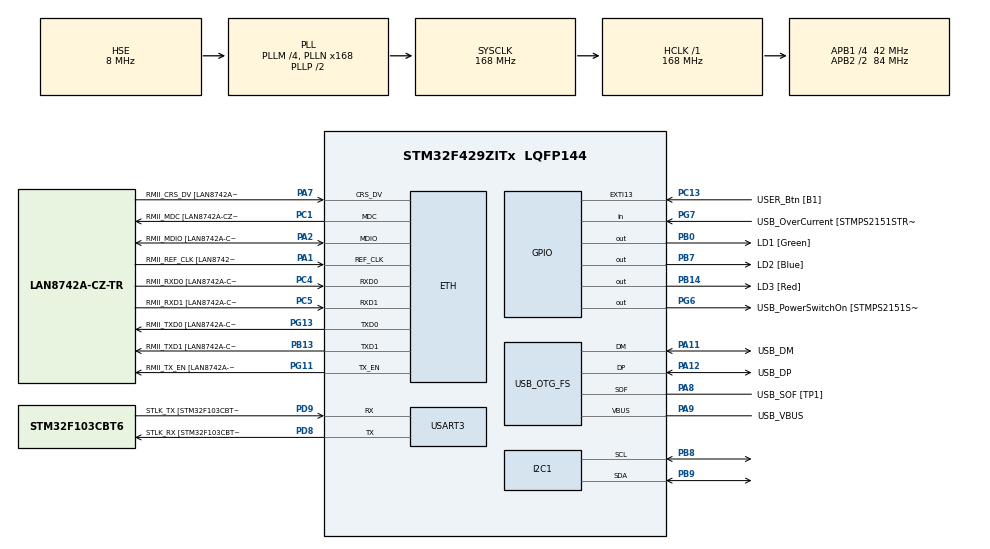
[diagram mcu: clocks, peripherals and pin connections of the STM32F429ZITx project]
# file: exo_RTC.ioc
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Mcu.Family=STM32F4
RCC.CortexFreq_Value=168000000
PG6.Signal=GPIO_Output
PB14.GPIO_Label=LD3 [Red]
PG6.GPIO_Label=USB_PowerSwitchOn [STMPS2151STR_EN]
PA14.GPIO_Label=TCK
RCC.SYSCLKSourceVirtual=RCC_SYSCLKSOURCE_PLLCLK
PA11.Mode=Device_Only
PB0.GPIO_Label=LD1 [Green]
PC14/OSC32_IN.Mode=LSE-External-Oscillator
PC5.Mode=RMII
PC13.GPIO_Label=USER_Btn [B1]
PB13.GPIO_Label=RMII_TXD1 [LAN8742A-CZ-TR_TXD1]
PB13.Signal=ETH_TXD1
PG13.Signal=ETH_TXD0
PD9.Mode=Asynchronous
PG11.Signal=ETH_TX_EN
RCC.SYSCLKSource=RCC_SYSCLKSOURCE_PLLCLK
ProjectManager.StackSize=0x400
VP_FREERTOS_VS_CMSIS_V2.Mode=CMSIS_V2
PA12.Signal=USB_OTG_FS_DP
ETH.PHY_Value=0
PH0/OSC_IN.Mode=HSE-External-Clock-Source
RCC.HCLKFreq_Value=168000000
RCC.APB2TimFreq_Value=168000000
PH1/OSC_OUT.Signal=RCC_OSC_OUT
PD8.Signal=USART3_TX
RCC.AHBFreq_Value=168000000
NVIC.EXTI15_10_IRQn=true\:0\:0\:false\:false\:true\:false\:true\:true
RCC.HSE_VALUE=8000000
RCC.PLLMUL=RCC_PLL_MUL9
PC4.GPIO_Label=RMII_RXD0 [LAN8742A-CZ-TR_RXD0]
PA14.Mode=Serial_Wire
VP_SYS_VS_tim1.Mode=TIM1
PA10.GPIO_Label=USB_ID
PB7.Signal=GPIO_Output
PA8.Signal=USB_OTG_FS_SOF
PG13.Mode=RMII
ETH.PHY_Name=LAN8742A_PHY_ADDRESS
PH1/OSC_OUT.Mode=HSE-External-Clock-Source
PB7.GPIO_Label=LD2 [Blue]
PB9.Signal=I2C1_SDA
Mcu.Package=LQFP144
NVIC.TimeBase=TIM1_UP_TIM10_IRQn
PC14/OSC32_IN.Signal=RCC_OSC32_IN
PA2.GPIO_Label=RMII_MDIO [LAN8742A-CZ-TR_MDIO]
NVIC.TimeBaseIP=TIM1
PA10.Signal=USB_OTG_FS_ID
USB_OTG_FS.VirtualMode=Device_Only
RCC.APB2CLKDivider=RCC_HCLK_DIV2
RCC.APB1TimFreq_Value=84000000
PG11.GPIO_Label=RMII_TX_EN [LAN8742A-CZ-TR_TXEN]
PC5.Signal=ETH_RXD1
PB13.Mode=RMII
PC4.Mode=RMII
FREERTOS.Tasks01=defaultTask,24,128,display_datetime,Default,NULL,Dynamic,NULL,NULL
PA7.Mode=RMII
PG7.Signal=GPIO_Input
PD9.GPIO_Label=STLK_TX [STM32F103CBT6_PA2]
PC13.Signal=GPXTI13
PA9.GPIO_Label=USB_VBUS
PC4.Signal=ETH_RXD0
PA11.GPIO_Label=USB_DM
PD9.Signal=USART3_RX
RCC.APB1CLKDivider=RCC_HCLK_DIV4
PG13.GPIO_Label=RMII_TXD0 [LAN8742A-CZ-TR_TXD0]
ETH.PhyAddress=0
PA12.GPIO_Label=USB_DP
PD8.GPIO_Label=STLK_RX [STM32F103CBT6_PA3]
PA13.Signal=SYS_JTMS-SWDIO
PA9.Mode=Activate_VBUS
PA8.GPIO_Label=USB_SOF [TP1]
ProjectManager.TargetToolchain=TrueSTUDIO
PB9.Mode=I2C
PA9.Signal=USB_OTG_FS_VBUS
RCC.USBFreq_Value=48000000
PD8.Mode=Asynchronous
PA1.Signal=ETH_REF_CLK
PB14.Signal=GPIO_Output
board=NUCLEO-F429ZI
RCC.VCOOutputFreq_Value=336000000
PH0/OSC_IN.Signal=RCC_OSC_IN
RCC.APB2Freq_Value=84000000
PA1.Mode=RMII
RCC.PRESCALERUSB=RCC_USBCLKSOURCE_PLL_DIV1_5
PG7.GPIO_Label=USB_OverCurrent [STMPS2151STR_FAULT]
PA1.GPIO_Label=RMII_REF_CLK [LAN8742A-CZ-TR_REFCLK0]
PC1.GPIO_Label=RMII_MDC [LAN8742A-CZ-TR_MDC]
PA13.Mode=Serial_Wire
Mcu.Name=STM32F429ZITx
PA2.Signal=ETH_MDIO
PA13.GPIO_Label=TMS
RCC.APB2TimCLKDivider=2
RCC.48MHZClocksFreq_Value=48000000
RCC.SYSCLKFreq_VALUE=168000000
ETH.MediaInterface=ETH_MEDIA_INTERFACE_RMII
PA7.GPIO_Label=RMII_CRS_DV [LAN8742A-CZ-TR_CRS_DV]
PA12.Mode=Device_Only
PC5.GPIO_Label=RMII_RXD1 [LAN8742A-CZ-TR_RXD1]
USART3.VirtualMode=VM_ASYNC
PC15/OSC32_OUT.Mode=LSE-External-Oscillator
PG11.Mode=RMII
PA11.Signal=USB_OTG_FS_DM
PA14.Signal=SYS_JTCK-SWCLK
ProjectManager.HeapSize=0x200
NVIC.TIM1_UP_TIM10_IRQn=true\:0\:0\:false\:false\:true\:false\:false\:true
RCC.HSI_VALUE=16000000
PH0/OSC_IN.GPIO_Label=MCO [STM32F103CBT6_PA8]
RCC.PLLQ=7
NVIC.PriorityGroup=NVIC_PRIORITYGROUP_4
RCC.PLLM=4
PB8.Mode=I2C
RCC.PLLN=168
PA2.Mode=RMII
PB8.Signal=I2C1_SCL
PC15/OSC32_OUT.Signal=RCC_OSC32_OUT
PA8.Mode=Activate_SOF_FS
RCC.APB1Freq_Value=42000000
PB0.Signal=GPIO_Output
PC1.Signal=ETH_MDC
PC1.Mode=RMII
PA7.Signal=ETH_CRS_DV

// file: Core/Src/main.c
/* USER CODE BEGIN Header */
/**
 ******************************************************************************
 * @file           : main.c
 * @brief          : Main program body
 ******************************************************************************
 * @attention
 *
 * <h2><center>&copy; Copyright (c) 2020 STMicroelectronics.
 * All rights reserved.</center></h2>
 *
 * This software component is licensed by ST under Ultimate Liberty license
 * SLA0044, the "License"; You may not use this file except in compliance with
 * the License. You may obtain a copy of the License at:
 *                             www.st.com/SLA0044
 *
 ******************************************************************************
 */
/* USER CODE END Header */
#include "main.h"
#include "cmsis_os.h"

/* USER CODE BEGIN Includes */
#include "stdlib.h"
/* USER CODE END Includes */

/* USER CODE BEGIN PTD */
typedef struct{
	char year[2];
	char month[2];
	char day[2];
	char hour[2];
	char minute[2];
	char second[2];
}datetime;
/* USER CODE END PTD */

/* USER CODE BEGIN PD */
#define DEVADD 0b1101000
#define SIZE_OF_MESSAGE 19
/* USER CODE END PD */

ETH_HandleTypeDef heth;

I2C_HandleTypeDef hi2c1;

UART_HandleTypeDef huart3;

PCD_HandleTypeDef hpcd_USB_OTG_FS;

/* Definitions for defaultTask */
osThreadId_t defaultTaskHandle;
const osThreadAttr_t defaultTask_attributes = {
		.name = "defaultTask",
		.priority = (osPriority_t) osPriorityNormal,
		.stack_size = 128 * 4
};
/* USER CODE BEGIN PV */
int display_flag;

datetime now;

/* USER CODE END PV */

void SystemClock_Config(void);
static void MX_GPIO_Init(void);
static void MX_ETH_Init(void);
static void MX_USART3_UART_Init(void);
static void MX_USB_OTG_FS_PCD_Init(void);
static void MX_I2C1_Init(void);
void display_datetime(void *argument);

int main(void)
{

	/* MCU Configuration--------------------------------------------------------*/

	/* Reset of all peripherals, Initializes the Flash interface and the Systick. */
	HAL_Init();

	/* Configure the system clock */
	SystemClock_Config();

	/* Initialize all configured peripherals */
	MX_GPIO_Init();
	MX_ETH_Init();
	MX_USART3_UART_Init();
	MX_USB_OTG_FS_PCD_Init();
	MX_I2C1_Init();
	/* USER CODE BEGIN 2 */
	display_flag = 0;
	/* USER CODE END 2 */

	/* Init scheduler */
	osKernelInitialize();

	/* Create the thread(s) */
	/* creation of defaultTask */
	defaultTaskHandle = osThreadNew(display_datetime, NULL, &defaultTask_attributes);

	/* Start scheduler */
	osKernelStart();

	/* We should never get here as control is now taken by the scheduler */
	/* Infinite loop */
	while (1)
	{

	}
}

void SystemClock_Config(void)
{
	RCC_OscInitTypeDef RCC_OscInitStruct = {0};
	RCC_ClkInitTypeDef RCC_ClkInitStruct = {0};

	/** Configure the main internal regulator output voltage
	 */
	__HAL_RCC_PWR_CLK_ENABLE();
	__HAL_PWR_VOLTAGESCALING_CONFIG(PWR_REGULATOR_VOLTAGE_SCALE1);
	/** Initializes the RCC Oscillators according to the specified parameters
	 * in the RCC_OscInitTypeDef structure.
	 */
	RCC_OscInitStruct.OscillatorType = RCC_OSCILLATORTYPE_HSE;
	RCC_OscInitStruct.HSEState = RCC_HSE_BYPASS;
	RCC_OscInitStruct.PLL.PLLState = RCC_PLL_ON;
	RCC_OscInitStruct.PLL.PLLSource = RCC_PLLSOURCE_HSE;
	RCC_OscInitStruct.PLL.PLLM = 4;
	RCC_OscInitStruct.PLL.PLLN = 168;
	RCC_OscInitStruct.PLL.PLLP = RCC_PLLP_DIV2;
	RCC_OscInitStruct.PLL.PLLQ = 7;
	if (HAL_RCC_OscConfig(&RCC_OscInitStruct) != HAL_OK)
	{
		Error_Handler();
	}
	/** Initializes the CPU, AHB and APB buses clocks
	 */
	RCC_ClkInitStruct.ClockType = RCC_CLOCKTYPE_HCLK|RCC_CLOCKTYPE_SYSCLK
			|RCC_CLOCKTYPE_PCLK1|RCC_CLOCKTYPE_PCLK2;
	RCC_ClkInitStruct.SYSCLKSource = RCC_SYSCLKSOURCE_PLLCLK;
	RCC_ClkInitStruct.AHBCLKDivider = RCC_SYSCLK_DIV1;
	RCC_ClkInitStruct.APB1CLKDivider = RCC_HCLK_DIV4;
	RCC_ClkInitStruct.APB2CLKDivider = RCC_HCLK_DIV2;

	if (HAL_RCC_ClockConfig(&RCC_ClkInitStruct, FLASH_LATENCY_5) != HAL_OK)
	{
		Error_Handler();
	}
}

static void MX_ETH_Init(void)
{

	heth.Instance = ETH;
	heth.Init.AutoNegotiation = ETH_AUTONEGOTIATION_ENABLE;
	heth.Init.PhyAddress = LAN8742A_PHY_ADDRESS;
	heth.Init.MACAddr[0] =   0x00;
	heth.Init.MACAddr[1] =   0x80;
	heth.Init.MACAddr[2] =   0xE1;
	heth.Init.MACAddr[3] =   0x00;
	heth.Init.MACAddr[4] =   0x00;
	heth.Init.MACAddr[5] =   0x00;
	heth.Init.RxMode = ETH_RXPOLLING_MODE;
	heth.Init.ChecksumMode = ETH_CHECKSUM_BY_HARDWARE;
	heth.Init.MediaInterface = ETH_MEDIA_INTERFACE_RMII;

	if (HAL_ETH_Init(&heth) != HAL_OK)
	{
		Error_Handler();
	}

}

static void MX_I2C1_Init(void)
{

	hi2c1.Instance = I2C1;
	hi2c1.Init.ClockSpeed = 100000;
	hi2c1.Init.DutyCycle = I2C_DUTYCYCLE_2;
	hi2c1.Init.OwnAddress1 = 0;
	hi2c1.Init.AddressingMode = I2C_ADDRESSINGMODE_7BIT;
	hi2c1.Init.DualAddressMode = I2C_DUALADDRESS_DISABLE;
	hi2c1.Init.OwnAddress2 = 0;
	hi2c1.Init.GeneralCallMode = I2C_GENERALCALL_DISABLE;
	hi2c1.Init.NoStretchMode = I2C_NOSTRETCH_DISABLE;
	if (HAL_I2C_Init(&hi2c1) != HAL_OK)
	{
		Error_Handler();
	}
	/** Configure Analogue filter
	 */
	if (HAL_I2CEx_ConfigAnalogFilter(&hi2c1, I2C_ANALOGFILTER_ENABLE) != HAL_OK)
	{
		Error_Handler();
	}
	/** Configure Digital filter
	 */
	if (HAL_I2CEx_ConfigDigitalFilter(&hi2c1, 0) != HAL_OK)
	{
		Error_Handler();
	}

}

static void MX_USART3_UART_Init(void)
{

	huart3.Instance = USART3;
	huart3.Init.BaudRate = 115200;
	huart3.Init.WordLength = UART_WORDLENGTH_8B;
	huart3.Init.StopBits = UART_STOPBITS_1;
	huart3.Init.Parity = UART_PARITY_NONE;
	huart3.Init.Mode = UART_MODE_TX_RX;
	huart3.Init.HwFlowCtl = UART_HWCONTROL_NONE;
	huart3.Init.OverSampling = UART_OVERSAMPLING_16;
	if (HAL_UART_Init(&huart3) != HAL_OK)
	{
		Error_Handler();
	}

}

static void MX_USB_OTG_FS_PCD_Init(void)
{

	hpcd_USB_OTG_FS.Instance = USB_OTG_FS;
	hpcd_USB_OTG_FS.Init.dev_endpoints = 4;
	hpcd_USB_OTG_FS.Init.speed = PCD_SPEED_FULL;
	hpcd_USB_OTG_FS.Init.dma_enable = DISABLE;
	hpcd_USB_OTG_FS.Init.phy_itface = PCD_PHY_EMBEDDED;
	hpcd_USB_OTG_FS.Init.Sof_enable = ENABLE;
	hpcd_USB_OTG_FS.Init.low_power_enable = DISABLE;
	hpcd_USB_OTG_FS.Init.lpm_enable = DISABLE;
	hpcd_USB_OTG_FS.Init.vbus_sensing_enable = ENABLE;
	hpcd_USB_OTG_FS.Init.use_dedicated_ep1 = DISABLE;
	if (HAL_PCD_Init(&hpcd_USB_OTG_FS) != HAL_OK)
	{
		Error_Handler();
	}

}

static void MX_GPIO_Init(void)
{
	GPIO_InitTypeDef GPIO_InitStruct = {0};

	/* GPIO Ports Clock Enable */
	__HAL_RCC_GPIOC_CLK_ENABLE();
	__HAL_RCC_GPIOH_CLK_ENABLE();
	__HAL_RCC_GPIOA_CLK_ENABLE();
	__HAL_RCC_GPIOB_CLK_ENABLE();
	__HAL_RCC_GPIOD_CLK_ENABLE();
	__HAL_RCC_GPIOG_CLK_ENABLE();

	/*Configure GPIO pin Output Level */
	HAL_GPIO_WritePin(GPIOB, LD1_Pin|LD3_Pin|LD2_Pin, GPIO_PIN_RESET);

	/*Configure GPIO pin Output Level */
	HAL_GPIO_WritePin(USB_PowerSwitchOn_GPIO_Port, USB_PowerSwitchOn_Pin, GPIO_PIN_RESET);

	/*Configure GPIO pin : USER_Btn_Pin */
	GPIO_InitStruct.Pin = USER_Btn_Pin;
	GPIO_InitStruct.Mode = GPIO_MODE_IT_RISING;
	GPIO_InitStruct.Pull = GPIO_NOPULL;
	HAL_GPIO_Init(USER_Btn_GPIO_Port, &GPIO_InitStruct);

	/*Configure GPIO pins : LD1_Pin LD3_Pin LD2_Pin */
	GPIO_InitStruct.Pin = LD1_Pin|LD3_Pin|LD2_Pin;
	GPIO_InitStruct.Mode = GPIO_MODE_OUTPUT_PP;
	GPIO_InitStruct.Pull = GPIO_NOPULL;
	GPIO_InitStruct.Speed = GPIO_SPEED_FREQ_LOW;
	HAL_GPIO_Init(GPIOB, &GPIO_InitStruct);

	/*Configure GPIO pin : USB_PowerSwitchOn_Pin */
	GPIO_InitStruct.Pin = USB_PowerSwitchOn_Pin;
	GPIO_InitStruct.Mode = GPIO_MODE_OUTPUT_PP;
	GPIO_InitStruct.Pull = GPIO_NOPULL;
	GPIO_InitStruct.Speed = GPIO_SPEED_FREQ_LOW;
	HAL_GPIO_Init(USB_PowerSwitchOn_GPIO_Port, &GPIO_InitStruct);

	/*Configure GPIO pin : USB_OverCurrent_Pin */
	GPIO_InitStruct.Pin = USB_OverCurrent_Pin;
	GPIO_InitStruct.Mode = GPIO_MODE_INPUT;
	GPIO_InitStruct.Pull = GPIO_NOPULL;
	HAL_GPIO_Init(USB_OverCurrent_GPIO_Port, &GPIO_InitStruct);

	/* EXTI interrupt init*/
	HAL_NVIC_SetPriority(EXTI15_10_IRQn, 0, 0);
	HAL_NVIC_EnableIRQ(EXTI15_10_IRQn);

}

/* USER CODE BEGIN 4 */
void HAL_GPIO_EXTI_Callback(uint16_t GPIO_Pin){ // INTERRUPTION !
	if(GPIO_Pin == USER_Btn_Pin){
		display_flag = !display_flag;
	}
}

void int_to_ascii(int ddata, int udata, char *pdata){
	pdata[0] = ddata + 48;
	pdata[1] = udata + 48;
}

void get_year(uint8_t *pdata, datetime *pstruct){
	int dyear = (pdata[6] & 0xF0) >> 4;
	int uyear = pdata[6] & 0x0F;
	char ascii_year[2];
	int_to_ascii(dyear, uyear, ascii_year);
	pstruct->year[0] = ascii_year[0];
	pstruct->year[1] = ascii_year[1];

}

void get_month(uint8_t *pdata, datetime *pstruct){
	int dmonth = (pdata[5] & 0x10) >> 4;
	int umonth = pdata[5] & 0x0F;
	char ascii_month[2];
	int_to_ascii(dmonth, umonth, ascii_month);
	pstruct->month[0] = ascii_month[0];
	pstruct->month[1] = ascii_month[1];
}

void get_day(uint8_t *pdata, datetime *pstruct){
	int dday = (pdata[4] & 0x30) >> 4;
	int uday = pdata[4] & 0x0F;
	char ascii_day[2];
	int_to_ascii(dday, uday, ascii_day);
	pstruct->day[0] = ascii_day[0];
	pstruct->day[1] = ascii_day[1];
}

void get_hours(uint8_t *pdata, datetime *pstruct){
	int dhours = (pdata[2] & 0x30) >> 4;
	int uhours = pdata[2] & 0x0F;
	char ascii_hours[2];
	int_to_ascii(dhours, uhours, ascii_hours);
	pstruct->hour[0] = ascii_hours[0];
	pstruct->hour[1] = ascii_hours[1];
}

void get_minutes(uint8_t *pdata, datetime *pstruct){
	int dminutes = (pdata[1] & 0x70) >> 4;
	int uminutes = pdata[1] & 0x0F;
	char ascii_minutes[2];
	int_to_ascii(dminutes, uminutes, ascii_minutes);
	pstruct->minute[0] = ascii_minutes[0];
	pstruct->minute[1] = ascii_minutes[1];
}

void get_seconds(uint8_t *pdata, datetime *pstruct){
	int dseconds = (pdata[0] & 0x70) >> 4;
	int useconds = pdata[0] & 0x0F;
	char ascii_seconds[2];
	int_to_ascii(dseconds, useconds, ascii_seconds);
	pstruct->second[0] = ascii_seconds[0];
	pstruct->second[1] = ascii_seconds[1];
}

void get_datetime(datetime *pdata){
	uint8_t registernum = 0x00;
	uint8_t buffer[7];
	HAL_I2C_Master_Transmit(&hi2c1, DEVADD << 1, &registernum, sizeof(registernum), 1000);
	HAL_I2C_Master_Receive(&hi2c1, DEVADD << 1, (uint8_t*)buffer, 8, 1000);
	get_seconds(buffer, pdata);
	get_minutes(buffer, pdata);
	get_hours(buffer, pdata);
	get_day(buffer, pdata);
	get_month(buffer, pdata);
	get_year(buffer, pdata);
}

void display_in_simu(datetime *pdata){
	char message[SIZE_OF_MESSAGE] = { 0 };
	message[0] = 0x64;
	message[3] = 0x5C;
	message[6] = 0x5C;
	message[12] = 0x3A;
	message[15] = 0x3A;
	message[9] = 0x20;
	message[18] = '\n';
	message[1] = pdata->year[0];
	message[2] = pdata->year[1];
	message[4] = pdata->month[0];
	message[5] = pdata->month[1];
	message[7] = pdata->day[0];
	message[8] = pdata->day[1];
	message[10] = pdata->hour[0];
	message[11] = pdata->hour[1];
	message[13] = pdata->minute[0];
	message[14] = pdata->minute[1];
	message[16] = pdata->second[0];
	message[17] = pdata->second[1];
	HAL_UART_Transmit(&huart3, (uint8_t*)message, SIZE_OF_MESSAGE, 1000);
}

void set_RTC(){
	uint8_t reg_year = 0x06;
	uint8_t reg_month = 0x05;
	uint8_t reg_date = 0x04;
	uint8_t reg_hour = 0x02;
	uint8_t reg_min = 0x01;
	uint8_t year = 32;
	uint8_t month = 17;
	uint8_t date = 22;
	uint8_t hour = 18;
	uint8_t min = 0;
	HAL_I2C_Mem_Write(&hi2c1, DEVADD << 1, reg_year, 1, &year, 1, 100);
	HAL_I2C_Mem_Write(&hi2c1, DEVADD << 1, reg_month, 1, &month, 1, 100);
	HAL_I2C_Mem_Write(&hi2c1, DEVADD << 1, reg_date, 1, &date, 1, 100);
	HAL_I2C_Mem_Write(&hi2c1, DEVADD << 1, reg_hour, 1, &hour, 1, 100);
	HAL_I2C_Mem_Write(&hi2c1, DEVADD << 1, reg_min, 1, &min, 1, 100);
}
/* USER CODE END 4 */

void display_datetime(void *argument)
{
	/* USER CODE BEGIN 5 */
	/* Infinite loop */
	for(;;)
	{
		if (display_flag != 0){
			display_flag = 0;
			get_datetime(&now);
			display_in_simu(&now);
			//set_RTC();
		}
	}
	/* USER CODE END 5 */
}

void HAL_TIM_PeriodElapsedCallback(TIM_HandleTypeDef *htim)
{
	if (htim->Instance == TIM1) {
		HAL_IncTick();
	}
}

void Error_Handler(void)
{
}

/************************ (C) COPYRIGHT STMicroelectronics *****END OF FILE****/
